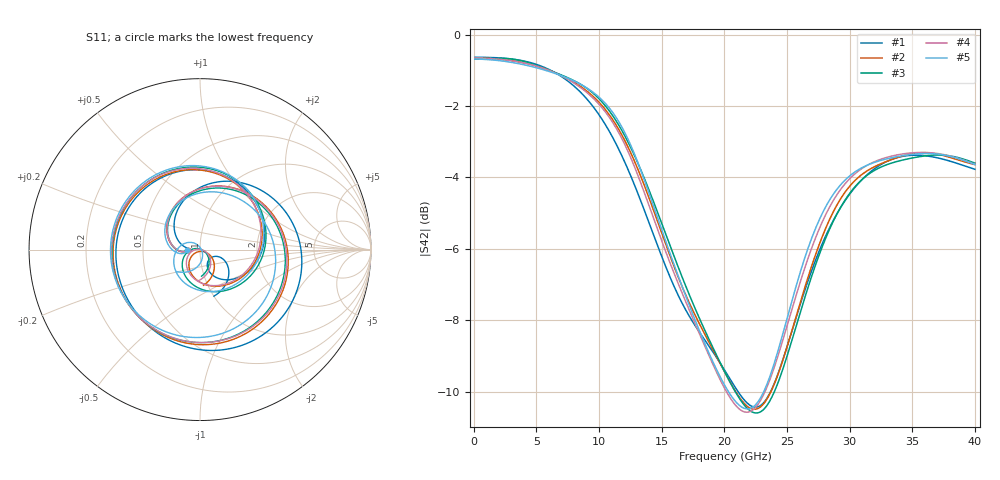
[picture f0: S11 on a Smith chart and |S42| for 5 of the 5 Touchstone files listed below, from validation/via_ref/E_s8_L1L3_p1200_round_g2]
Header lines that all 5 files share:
! E_s8_L1L3_p1200_round_g2: pair L1→L3, pitch 1.2 mm, two round antipads, 2 GND vias
! stackup: 8-layer 1.6 mm FR-4 (generic)
! ports: 1 P near, 2 N near, 3 P far, 4 N far
# Hz S RI R 50
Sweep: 100 MHz to 40 GHz
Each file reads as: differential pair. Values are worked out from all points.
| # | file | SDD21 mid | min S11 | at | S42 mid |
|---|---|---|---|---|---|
| 1 | cst.s4p | -10.9 dB at 20.1 GHz | -23.2 dB | 100 MHz | -9.4 dB at 20.1 GHz |
| 2 | cst_fine.s4p | -10.7 dB at 20.1 GHz | -39.4 dB | 36.2 GHz | -9.5 dB at 20.1 GHz |
| 3 | kisi.s4p | -10.2 dB at 20.1 GHz | -49.4 dB | 37.2 GHz | -9.5 dB at 20.1 GHz |
| 4 | openems.s4p | -12.2 dB at 20.1 GHz | -52.3 dB | 36.5 GHz | -10.0 dB at 20.1 GHz |
| 5 | openems_base.s4p | -12.0 dB at 20.1 GHz | -42.6 dB | 37 GHz | -9.9 dB at 20.1 GHz |
